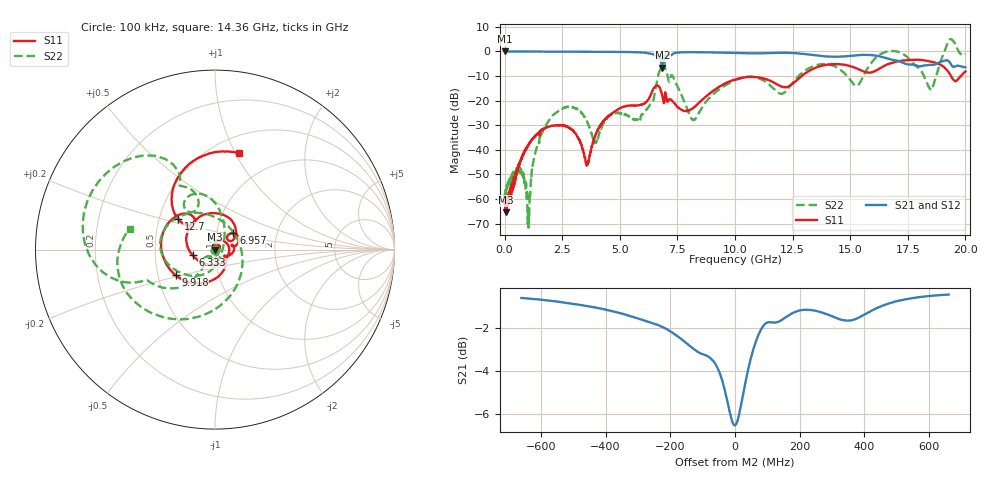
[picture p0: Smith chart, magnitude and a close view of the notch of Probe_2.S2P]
# Hz S RI R 50.00
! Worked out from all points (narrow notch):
!   5000 points, 100 kHz to 20 GHz, reference 50 ohm
!   highest |S21| = 0.00 dB at 100 kHz (marker M1); lowest = -6.6 dB at 6.845 GHz (marker M2)
!   notch at M2: 5.9 dB deep, 110 MHz wide at half that depth
!   lowest |S11| = -65.4 dB at 48.11 MHz (marker M3), VSWR 1.00, Z = 49.9 + j0.00204 ohm
!   |S11| at or under -10 dB: start of sweep to 12.89 GHz; 19.38 GHz to 19.8 GHz (420.8 MHz wide, 2.15 % of centre)
!   |S22| runs from -71.6 to 5.0 dB; largest |S21 - S12| = 0
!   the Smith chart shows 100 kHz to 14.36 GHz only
!   S11 on the Smith chart (normalised r, x): 100 kHz: 1.00, -0.00; 6.333 GHz: 0.78, -0.05; 6.957 GHz: 1.21, +0.22; 9.918 GHz: 0.62, -0.19; 12.7 GHz: 0.63, +0.23; 14.36 GHz: 0.67, +1.04
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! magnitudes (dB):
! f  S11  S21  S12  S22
! 100 kHz  -60.2  0.0  0.0  -59.1
! 48.11 MHz  -65.4  0.0  0.0  -56.6
! 656.2 MHz  -45.9  0.0  0.0  -47.0
! 1.044 GHz  -37.6  0.0  0.0  -71.6
! 1.616 GHz  -31.8  -0.1  -0.1  -33.2
! 3.337 GHz  -38.2  -0.1  -0.1  -24.9
! 3.937 GHz  -34.2  -0.1  -0.1  -37.0
! 6.333 GHz  -17.9  -0.9  -0.9  -21.4
! 6.669 GHz  -14.0  -2.4  -2.4  -9.6
! 6.845 GHz  -18.1  -6.6  -6.6  -2.7
! 6.957 GHz  -17.2  -1.7  -1.7  -6.0
! 8.182 GHz  -22.9  -0.3  -0.3  -27.9
! 9.918 GHz  -11.6  -0.6  -0.6  -12.1
! 10 GHz  -11.4  -0.6  -0.6  -11.7
! 12.7 GHz  -11.5  -0.7  -0.7  -10.5
! 13.33 GHz  -7.3  -1.4  -1.4  -6.3
! 14.36 GHz  -5.1  -2.1  -2.1  -6.2
! 15.3 GHz  -7.0  -1.5  -1.5  -13.9
! 16.67 GHz  -5.0  -3.0  -3.0  0.1
! 18.49 GHz  -4.1  -5.5  -5.5  -15.4
! 19.31 GHz  -9.0  -4.3  -4.3  4.7
! 20 GHz  -8.2  -6.5  -6.5  -1.0
